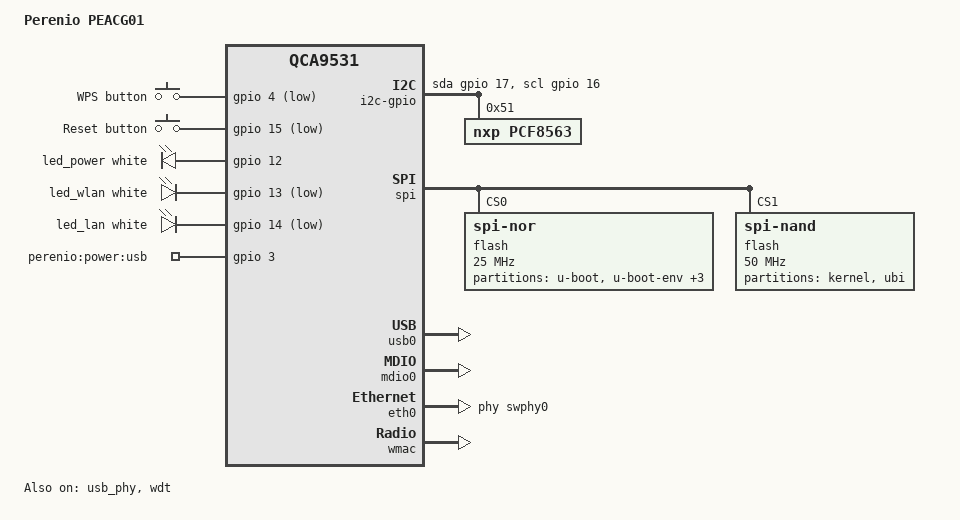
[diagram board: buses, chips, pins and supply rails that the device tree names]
// SPDX-License-Identifier: BSD-2-Clause

#include "qca953x.dtsi"

#include <dt-bindings/gpio/gpio.h>
#include <dt-bindings/input/input.h>
#include <dt-bindings/leds/common.h>

/ {
	compatible = "perenio,peacg01", "qca,qca9531";
	model = "Perenio PEACG01";

	aliases {
		label-mac-device = &eth0;
		led-boot = &led_power;
		led-failsafe = &led_power;
		led-running = &led_power;
		led-upgrade = &led_power;
	};

	keys {
		compatible = "gpio-keys";

		wps {
			label = "WPS button";
			linux,code = <KEY_WPS_BUTTON>;
			gpios = <&gpio 4 GPIO_ACTIVE_LOW>;
			debounce-interval = <60>;
		};

		reset {
			label = "Reset button";
			linux,code = <KEY_RESTART>;
			gpios = <&gpio 15 GPIO_ACTIVE_LOW>;
			debounce-interval = <60>;
		};
	};

	leds {
		compatible = "gpio-leds";

		led_power: power {
			function = LED_FUNCTION_POWER;
			color = <LED_COLOR_ID_WHITE>;
			gpios = <&gpio 12 GPIO_ACTIVE_HIGH>;
		};

		led_wlan: wlan {
			function = LED_FUNCTION_WLAN;
			color = <LED_COLOR_ID_WHITE>;
			gpios = <&gpio 13 GPIO_ACTIVE_LOW>;
		};

		led_lan: lan {
			function = LED_FUNCTION_LAN;
			color = <LED_COLOR_ID_WHITE>;
			gpios = <&gpio 14 GPIO_ACTIVE_LOW>;
		};
	};

	gpio-export {
		compatible = "gpio-export";

		gpio_usb_power {
			gpio-export,name = "perenio:power:usb";
			gpio-export,output = <1>;
			gpios = <&gpio 3 GPIO_ACTIVE_HIGH>;
		};
	};

	i2c-gpio {
		compatible = "i2c-gpio";
		scl-gpios = <&gpio 16 (GPIO_ACTIVE_HIGH | GPIO_OPEN_DRAIN)>;
		sda-gpios = <&gpio 17 (GPIO_ACTIVE_HIGH | GPIO_OPEN_DRAIN)>;
		i2c-gpio,delay-us = <5>;
		#address-cells = <1>;
		#size-cells = <0>;

		pcf8563: pcf8563@51 {
			compatible = "nxp,pcf8563";
			reg = <0x51>;
		};
	};
};

&spi {
	status = "okay";

	flash@0 {
		compatible = "jedec,spi-nor";
		reg = <0>;
		spi-max-frequency = <25000000>;

		partitions {
			compatible = "fixed-partitions";
			#address-cells = <1>;
			#size-cells = <1>;

			partition@0 {
				label = "u-boot";
				reg = <0x000000 0x040000>;
				read-only;
			};

			partition@40000 {
				label = "u-boot-env";
				reg = <0x040000 0x010000>;
			};

			partition@50000 {
				label = "u-boot-env-bak";
				reg = <0x050000 0x010000>;
				read-only;
			};

			partition@60000 {
				label = "reserved";
				reg = <0x060000 0x010000>;
				read-only;
			};

			art: partition@70000 {
				label = "art";
				reg = <0x070000 0x010000>;
				read-only;
			};
		};
	};

	flash@1 {
		compatible = "spi-nand";
		reg = <1>;
		spi-max-frequency = <50000000>;

		partitions {
			compatible = "fixed-partitions";
			#address-cells = <1>;
			#size-cells = <1>;

			partition@0 {
				label = "kernel";
				reg = <0x000000 0x400000>;
			};

			partition@400000 {
				label = "ubi";
				reg = <0x400000 0x7C00000>;
			};
		};
	};
};

&usb0 {
	status = "okay";
};

&usb_phy {
	status = "okay";
};

&wdt {
	status = "okay";
};

&mdio0 {
	status = "okay";
};

&eth0 {
	status = "okay";

	phy-handle = <&swphy0>;

	nvmem-cells = <&macaddr_art_0>;
	nvmem-cell-names = "mac-address";

	gmac-config {
		device = <&gmac>;

		switch-phy-addr-swap = <1>;
		switch-phy-swap = <1>;
	};
};

&wmac {
	status = "okay";

	nvmem-cells = <&macaddr_art_0>;
	nvmem-cell-names = "mac-address";
	mac-address-increment = <(-1)>;
	mtd-cal-data = <&art 0x1000>;
};

&art {
	compatible = "nvmem-cells";
	#address-cells = <1>;
	#size-cells = <1>;

	macaddr_art_0: macaddr@0 {
		reg = <0x0 0x6>;
	};
};
